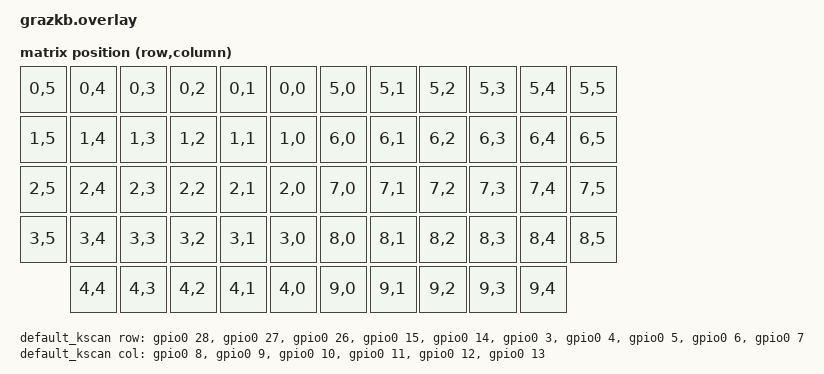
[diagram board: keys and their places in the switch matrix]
#include <dt-bindings/zmk/matrix_transform.h>

/ {
    chosen {
        zmk,kscan = &default_kscan;
        zmk,matrix_transform = &default_transform;
        // This would require _another_ PIO device to get setup. I can do it later.
        //zmk,underglow = &status_led;
        zephyr,display = &nice_view;
    };

    default_kscan: kscan {
        compatible = "zmk,kscan-gpio-matrix";
        diode-direction = "col2row";

        row-gpios = <&gpio0 28 (GPIO_ACTIVE_HIGH | GPIO_PULL_DOWN)>,
                    <&gpio0 27 (GPIO_ACTIVE_HIGH | GPIO_PULL_DOWN)>,
                    <&gpio0 26 (GPIO_ACTIVE_HIGH | GPIO_PULL_DOWN)>,
                    <&gpio0 15 (GPIO_ACTIVE_HIGH | GPIO_PULL_DOWN)>,
                    <&gpio0 14 (GPIO_ACTIVE_HIGH | GPIO_PULL_DOWN)>,
                    <&gpio0 3 (GPIO_ACTIVE_HIGH | GPIO_PULL_DOWN)>,
                    <&gpio0 4 (GPIO_ACTIVE_HIGH | GPIO_PULL_DOWN)>,
                    <&gpio0 5 (GPIO_ACTIVE_HIGH | GPIO_PULL_DOWN)>,
                    <&gpio0 6 (GPIO_ACTIVE_HIGH | GPIO_PULL_DOWN)>,
                    <&gpio0 7 (GPIO_ACTIVE_HIGH | GPIO_PULL_DOWN)>;
        col-gpios = <&gpio0 8 (GPIO_ACTIVE_HIGH)>,
                    <&gpio0 9 (GPIO_ACTIVE_HIGH)>,
                    <&gpio0 10 (GPIO_ACTIVE_HIGH)>,
                    <&gpio0 11 (GPIO_ACTIVE_HIGH)>,
                    <&gpio0 12 (GPIO_ACTIVE_HIGH)>,
                    <&gpio0 13 (GPIO_ACTIVE_HIGH)>;
    };

    default_transform: matrix_transform {
        compatible = "zmk,matrix-transform";
        rows = <10>;
        columns = <6>;

        map = <
            RC(0,5) RC(0,4) RC(0,3) RC(0,2) RC(0,1) RC(0,0)      RC(5,0) RC(5,1) RC(5,2) RC(5,3) RC(5,4) RC(5,5)
            RC(1,5) RC(1,4) RC(1,3) RC(1,2) RC(1,1) RC(1,0)      RC(6,0) RC(6,1) RC(6,2) RC(6,3) RC(6,4) RC(6,5)
            RC(2,5) RC(2,4) RC(2,3) RC(2,2) RC(2,1) RC(2,0)      RC(7,0) RC(7,1) RC(7,2) RC(7,3) RC(7,4) RC(7,5)
            RC(3,5) RC(3,4) RC(3,3) RC(3,2) RC(3,1) RC(3,0)      RC(8,0) RC(8,1) RC(8,2) RC(8,3) RC(8,4) RC(8,5)
                    RC(4,4) RC(4,3) RC(4,2) RC(4,1) RC(4,0)      RC(9,0) RC(9,1) RC(9,2) RC(9,3) RC(9,4)
        >;
    };
};

// Disable uart0 since its pins collide with the pins I'm using for PIO SPI
&uart0 {
        status = "disabled";
};

&pinctrl {
        pio0_spi0_default: pio0_spi0_default {
                group1 {
                        // clk, mosi
                        pinmux = <PIO0_P2>, <PIO0_P0>;
                };
        };
        pio0_spi0_sleep: pio0_spi0_sleep {
                group1 {
                        // clk, mosi
                        pinmux = <PIO0_P2>, <PIO0_P0>;
                };
        };
};

&pio0 {
        status = "okay";
        pio-spi {
                compatible = "raspberrypi,pico-spi-pio";
                #address-cells = <1>;
                #size-cells = <0>;
                clocks = <&system_clk>;
                clock-frequency = <1000000>;
                pinctrl-0 = <&pio0_spi0_default>;
                pinctrl-1 = <&pio0_spi0_sleep>;
                pinctrl-names = "default", "sleep";
                status = "okay";
                cs-gpios = <&gpio0 1 GPIO_ACTIVE_HIGH>;
                clk-gpios = <&gpio0 2 GPIO_ACTIVE_HIGH>;
                mosi-gpios = <&gpio0 0 GPIO_ACTIVE_HIGH>;
                // This GPIO is not connected to the waveshare zero, it seems I need something though
                miso-gpios = <&gpio0 25 GPIO_ACTIVE_HIGH>;
                nice_view: niew-view@0 {
                        status = "okay";
                        compatible = "sharp,ls0xx";
                        reg = <0>;
                        width = <160>;
                        height = <68>;
                        spi-max-frequency = <1000000>;
                        /delete-property/ spi-cpol; // CPOL 0
                        /delete-property/ spi-cpha; // CPHA 0
                };
        };
};
